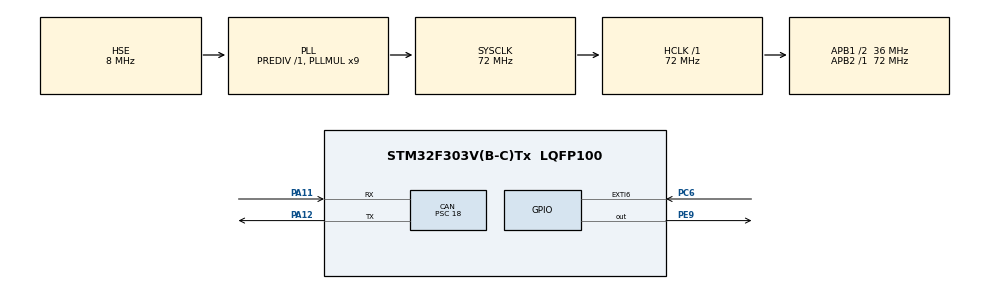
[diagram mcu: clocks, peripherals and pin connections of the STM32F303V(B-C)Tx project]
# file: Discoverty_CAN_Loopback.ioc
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CAN.BS1=CAN_BS1_2TQ
CAN.CalculateBaudRate=500000
CAN.CalculateTimeBit=2000
CAN.CalculateTimeQuantum=500.0
CAN.Mode=CAN_MODE_LOOPBACK
CAN.Prescaler=18
Mcu.Family=STM32F3
Mcu.Name=STM32F303V(B-C)Tx
Mcu.Package=LQFP100
NVIC.CAN_RX1_IRQn=true\:0\:0\:false\:false\:true\:true\:true
NVIC.EXTI9_5_IRQn=true\:0\:0\:false\:false\:true\:true\:true
NVIC.PriorityGroup=NVIC_PRIORITYGROUP_4
NVIC.USB_LP_CAN_RX0_IRQn=true\:0\:0\:false\:false\:true\:true\:true
PA11.Mode=CAN_Activate
PA11.Signal=CAN_RX
PA12.Mode=CAN_Activate
PA12.Signal=CAN_TX
PA13.Mode=Trace_Asynchronous_SW
PA13.Signal=SYS_JTMS-SWDIO
PA14.Mode=Trace_Asynchronous_SW
PA14.Signal=SYS_JTCK-SWCLK
PB3.Mode=Trace_Asynchronous_SW
PB3.Signal=SYS_JTDO-TRACESWO
PC6.GPIO_ModeDefaultEXTI=GPIO_MODE_IT_FALLING
PC6.GPIO_PuPd=GPIO_PULLUP
PC6.Signal=GPXTI6
PE9.Signal=GPIO_Output
PF0-OSC_IN.Mode=HSE-External-Oscillator
PF0-OSC_IN.Signal=RCC_OSC_IN
PF1-OSC_OUT.Mode=HSE-External-Oscillator
PF1-OSC_OUT.Signal=RCC_OSC_OUT
ProjectManager.HeapSize=0x200
ProjectManager.StackSize=0x400
ProjectManager.TargetToolchain=Makefile
RCC.AHBFreq_Value=72000000
RCC.APB1CLKDivider=RCC_HCLK_DIV2
RCC.APB1Freq_Value=36000000
RCC.APB1TimFreq_Value=72000000
RCC.APB2Freq_Value=72000000
RCC.APB2TimFreq_Value=72000000
RCC.CortexFreq_Value=72000000
RCC.HCLKFreq_Value=72000000
RCC.HSE_VALUE=8000000
RCC.HSI_VALUE=8000000
RCC.LSE_VALUE=32768
RCC.PLLMUL=RCC_PLL_MUL9
RCC.PLLSourceVirtual=RCC_PLLSOURCE_HSE
RCC.SYSCLKFreq_VALUE=72000000
RCC.SYSCLKSourceVirtual=RCC_SYSCLKSOURCE_PLLCLK
RCC.USBFreq_Value=72000000
board=custom

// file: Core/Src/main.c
/* USER CODE BEGIN Header */
/**
  ******************************************************************************
  * @file           : main.c
  * @brief          : Main program body
  ******************************************************************************
  * @attention
  *
  * Copyright (c) 2022 STMicroelectronics.
  * All rights reserved.
  *
  * This software is licensed under terms that can be found in the LICENSE file
  * in the root directory of this software component.
  * If no LICENSE file comes with this software, it is provided AS-IS.
  *
  ******************************************************************************
  */
/* USER CODE END Header */
#include "main.h"

CAN_HandleTypeDef hcan;

void SystemClock_Config(void);
static void MX_GPIO_Init(void);
static void MX_CAN_Init(void);

/* USER CODE BEGIN 0 */

CAN_TxHeaderTypeDef TxHeader;
CAN_RxHeaderTypeDef RxHeader;

uint32_t TxMailbox;

uint8_t TxData[8];
uint8_t RxData[8];

uint8_t count = 0;

int datacheck = 0;

void HAL_GPIO_EXTI_Callback(uint16_t GPIO_Pin){
  if (GPIO_Pin == GPIO_PIN_10){
    TxData[0] = 100;
    TxData[1] = 3;

    HAL_CAN_AddTxMessage(&hcan, &TxHeader, TxData, &TxMailbox);

  }
}

void HAL_CAN_RxFifo0MsgPendingCallback(CAN_HandleTypeDef *hcan){

  HAL_CAN_GetRxMessage(hcan, CAN_RX_FIFO0, &RxHeader, RxData);
  if (RxHeader.DLC == 2){
    datacheck = 1;
  }
}

/* USER CODE END 0 */

int main(void)
{

  /* MCU Configuration--------------------------------------------------------*/

  /* Reset of all peripherals, Initializes the Flash interface and the Systick. */
  HAL_Init();

  /* Configure the system clock */
  SystemClock_Config();

  /* Initialize all configured peripherals */
  MX_GPIO_Init();
  MX_CAN_Init();
  /* USER CODE BEGIN 2 */

  HAL_CAN_Start(&hcan);
  HAL_CAN_ActivateNotification(&hcan, CAN_IT_RX_FIFO0_MSG_PENDING);

  TxHeader.DLC = 2;
  TxHeader.ExtId = 0;
  TxHeader.IDE = CAN_ID_STD;
  TxHeader.RTR = CAN_RTR_DATA;
  TxHeader.StdId = 0xA0;
  TxHeader.TransmitGlobalTime = DISABLE;

  TxData[0] = 0xf3;

  HAL_CAN_AddTxMessage(&hcan, &TxHeader, TxData, &TxMailbox);

  /* USER CODE END 2 */

  /* Infinite loop */
  while (1)
  {

    /* USER CODE BEGIN 3 */

    if (datacheck){
      for (int i=0; i<RxData[1]; i++){
        HAL_GPIO_TogglePin(GPIOE, GPIO_PIN_9);
        HAL_Delay(RxData[0]);
      }
      datacheck = 0;
    }
  }
  /* USER CODE END 3 */
}

void SystemClock_Config(void)
{
  RCC_OscInitTypeDef RCC_OscInitStruct = {0};
  RCC_ClkInitTypeDef RCC_ClkInitStruct = {0};

  /** Initializes the RCC Oscillators according to the specified parameters
  * in the RCC_OscInitTypeDef structure.
  */
  RCC_OscInitStruct.OscillatorType = RCC_OSCILLATORTYPE_HSE;
  RCC_OscInitStruct.HSEState = RCC_HSE_ON;
  RCC_OscInitStruct.HSEPredivValue = RCC_HSE_PREDIV_DIV1;
  RCC_OscInitStruct.HSIState = RCC_HSI_ON;
  RCC_OscInitStruct.PLL.PLLState = RCC_PLL_ON;
  RCC_OscInitStruct.PLL.PLLSource = RCC_PLLSOURCE_HSE;
  RCC_OscInitStruct.PLL.PLLMUL = RCC_PLL_MUL9;
  if (HAL_RCC_OscConfig(&RCC_OscInitStruct) != HAL_OK)
  {
    Error_Handler();
  }
  /** Initializes the CPU, AHB and APB buses clocks
  */
  RCC_ClkInitStruct.ClockType = RCC_CLOCKTYPE_HCLK|RCC_CLOCKTYPE_SYSCLK
                              |RCC_CLOCKTYPE_PCLK1|RCC_CLOCKTYPE_PCLK2;
  RCC_ClkInitStruct.SYSCLKSource = RCC_SYSCLKSOURCE_PLLCLK;
  RCC_ClkInitStruct.AHBCLKDivider = RCC_SYSCLK_DIV1;
  RCC_ClkInitStruct.APB1CLKDivider = RCC_HCLK_DIV2;
  RCC_ClkInitStruct.APB2CLKDivider = RCC_HCLK_DIV1;

  if (HAL_RCC_ClockConfig(&RCC_ClkInitStruct, FLASH_LATENCY_2) != HAL_OK)
  {
    Error_Handler();
  }
}

static void MX_CAN_Init(void)
{

  hcan.Instance = CAN;
  hcan.Init.Prescaler = 18;
  hcan.Init.Mode = CAN_MODE_LOOPBACK;
  hcan.Init.SyncJumpWidth = CAN_SJW_1TQ;
  hcan.Init.TimeSeg1 = CAN_BS1_2TQ;
  hcan.Init.TimeSeg2 = CAN_BS2_1TQ;
  hcan.Init.TimeTriggeredMode = DISABLE;
  hcan.Init.AutoBusOff = DISABLE;
  hcan.Init.AutoWakeUp = DISABLE;
  hcan.Init.AutoRetransmission = DISABLE;
  hcan.Init.ReceiveFifoLocked = DISABLE;
  hcan.Init.TransmitFifoPriority = DISABLE;
  if (HAL_CAN_Init(&hcan) != HAL_OK)
  {
    Error_Handler();
  }
  /* USER CODE BEGIN CAN_Init 2 */

  CAN_FilterTypeDef canfilterconfig;
  canfilterconfig.FilterActivation = CAN_FILTER_ENABLE;
  canfilterconfig.FilterBank = 10;
  canfilterconfig.FilterFIFOAssignment = CAN_RX_FIFO0;
  canfilterconfig.FilterIdHigh = 0xA0 << 5;
  canfilterconfig.FilterIdLow = 0x0000;
  canfilterconfig.FilterMaskIdHigh = 0xA1 << 5;
  canfilterconfig.FilterMaskIdLow = 0x0000;
  canfilterconfig.FilterMode = CAN_FILTERMODE_IDMASK;
  canfilterconfig.FilterScale = CAN_FILTERSCALE_32BIT;
  canfilterconfig.SlaveStartFilterBank = 13;

  HAL_CAN_ConfigFilter(&hcan, &canfilterconfig);

  /* USER CODE END CAN_Init 2 */

}

static void MX_GPIO_Init(void)
{
  GPIO_InitTypeDef GPIO_InitStruct = {0};

  /* GPIO Ports Clock Enable */
  __HAL_RCC_GPIOF_CLK_ENABLE();
  __HAL_RCC_GPIOE_CLK_ENABLE();
  __HAL_RCC_GPIOC_CLK_ENABLE();
  __HAL_RCC_GPIOA_CLK_ENABLE();
  __HAL_RCC_GPIOB_CLK_ENABLE();

  /*Configure GPIO pin Output Level */
  HAL_GPIO_WritePin(GPIOE, GPIO_PIN_9, GPIO_PIN_RESET);

  /*Configure GPIO pin : PE9 */
  GPIO_InitStruct.Pin = GPIO_PIN_9;
  GPIO_InitStruct.Mode = GPIO_MODE_OUTPUT_PP;
  GPIO_InitStruct.Pull = GPIO_NOPULL;
  GPIO_InitStruct.Speed = GPIO_SPEED_FREQ_LOW;
  HAL_GPIO_Init(GPIOE, &GPIO_InitStruct);

  /*Configure GPIO pin : PC6 */
  GPIO_InitStruct.Pin = GPIO_PIN_6;
  GPIO_InitStruct.Mode = GPIO_MODE_IT_FALLING;
  GPIO_InitStruct.Pull = GPIO_PULLUP;
  HAL_GPIO_Init(GPIOC, &GPIO_InitStruct);

  /* EXTI interrupt init*/
  HAL_NVIC_SetPriority(EXTI9_5_IRQn, 0, 0);
  HAL_NVIC_EnableIRQ(EXTI9_5_IRQn);

}

void Error_Handler(void)
{
  __disable_irq();
  while (1)
  {
  }
}
